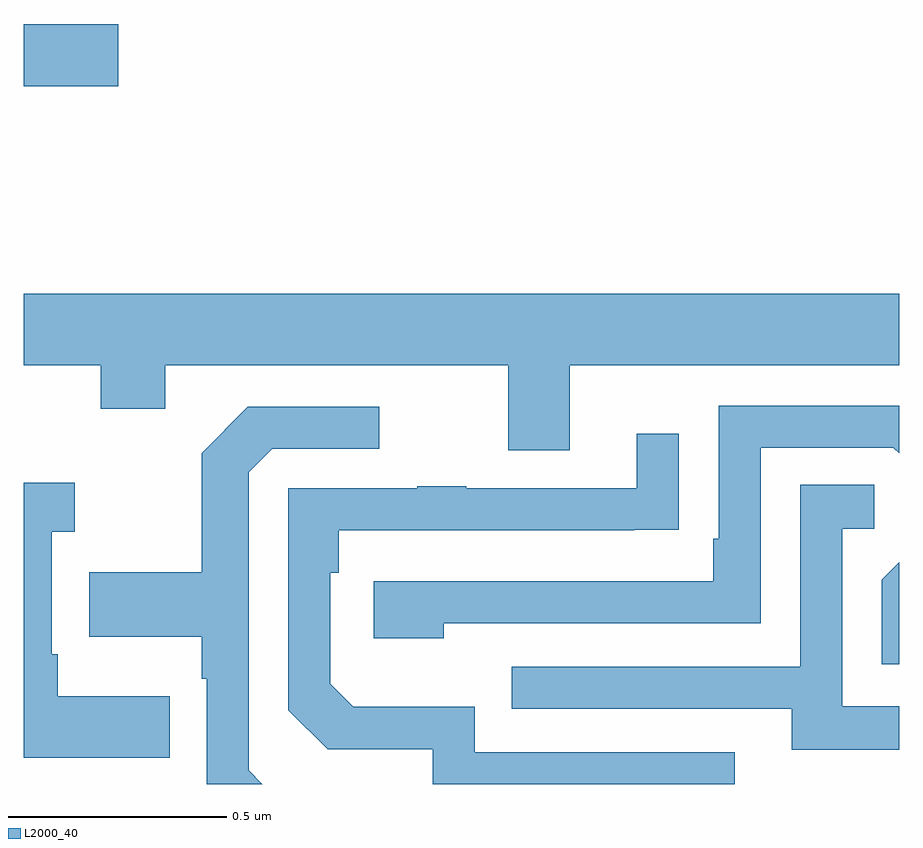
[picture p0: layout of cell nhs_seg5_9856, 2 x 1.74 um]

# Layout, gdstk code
import gdstk
lib = gdstk.Library(unit=1e-6, precision=1e-09)
def R(c, l, rs):  # rectangles x0, y0, x1, y1
    for r in rs: c.add(gdstk.rectangle(r[:2], r[2:], *l))
def P(c, l, *ps):  # polygons
    for p in ps: c.add(gdstk.Polygon(p, *l))
L2000_40 = (2000, 40)

nhs_seg5_9856 = lib.new_cell('nhs_seg5_9856')
R(nhs_seg5_9856, L2000_40, [(239,861.394,239.215,861.536)])
P(nhs_seg5_9856, L2000_40, [(240.247,860.756),(241,860.756),(241,860.92),(239,860.92),(239,860.756),(239.176,860.756),(239.176,860.657),(239.323,860.657),(239.323,860.756),(240.107,860.756),(240.107,860.562),(240.247,860.562)],
  [(239.96,860.166),(240.684,860.166),(240.684,860.568),(240.987,860.568),(241,860.555),(241,860.664),(240.588,860.664),(240.588,860.359),(240.575,860.359),(240.575,860.262),(239.799,860.262),(239.799,860.132),(239.96,860.132)],
  [(239.514,859.83),(239.514,860.511),(239.568,860.565),(239.812,860.565),(239.812,860.661),(239.511,860.661),(239.406,860.555),(239.406,860.283),(239.149,860.283),(239.149,860.135),(239.406,860.135),(239.406,860.039),(239.418,860.039),(239.418,859.799),(239.545,859.799)],
  [(240.625,859.872),(240.03,859.872),(240.03,859.975),(239.753,859.975),(239.7,860.028),(239.7,860.282),(239.72,860.282),(239.72,860.379),(240.395,860.379),(240.395,860.38),(240.497,860.38),(240.497,860.599),(240.401,860.599),(240.401,860.475),(240.011,860.475),(240.011,860.48),(239.899,860.48),(239.899,860.475),(239.604,860.475),(239.604,859.968),(239.694,859.878),(239.934,859.878),(239.934,859.799),(240.625,859.799)],
  [(239.333,859.999),(239.077,859.999),(239.077,860.095),(239.064,860.095),(239.064,860.375),(239.116,860.375),(239.116,860.488),(239,860.488),(239,859.859),(239.333,859.859)],
  [(241,859.977),(240.87,859.977),(240.87,860.382),(240.943,860.382),(240.943,860.483),(240.774,860.483),(240.774,860.067),(240.115,860.067),(240.115,859.971),(240.755,859.971),(240.755,859.877),(241,859.877)],
  [(241,860.306),(240.96,860.266),(240.96,860.073),(241,860.073)])

lib.write_gds('nhs_seg5_9856.gds')
